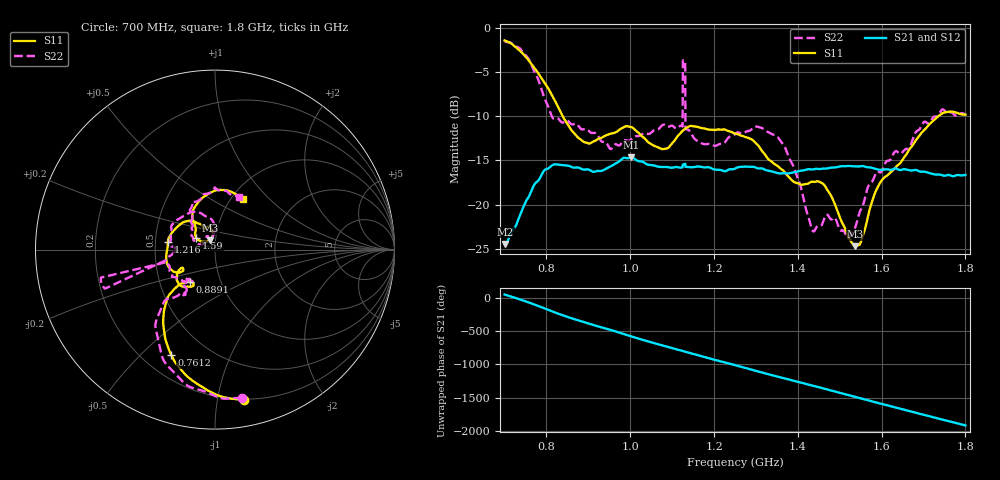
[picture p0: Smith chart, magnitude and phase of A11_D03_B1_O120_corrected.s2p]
! Created with skrf 1.9.0 (http://scikit-rf.org).
# Hz S RI R 50.0
!freq ReS11 ImS11 ReS21 ImS21 ReS12 ImS12 ReS22 ImS22
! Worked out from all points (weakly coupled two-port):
!   1601 points, 700 MHz to 1.8 GHz, reference 50 ohm
!   highest |S21| = -14.66 dB at 1.002 GHz (marker M1); lowest = -24.5 dB at 701.4 MHz (marker M2)
!   lowest |S11| = -24.7 dB at 1.537 GHz (marker M3), VSWR 1.12, Z = 47.3 + j4.96 ohm
!   |S11| at or under -10 dB: 838.8 MHz to 1.735 GHz (896.1 MHz wide, 69.6 % of centre)
!   |S22| runs from -23.8 to -1.5 dB; largest |S21 - S12| = 0.0035
!   S11 on the Smith chart (normalised r, x): 700 MHz: 0.20, -1.19; 761.2 MHz: 0.31, -0.62; 889.1 MHz: 0.71, -0.27; 1.216 GHz: 0.58, +0.06; 1.59 GHz: 0.80, +0.11; 1.8 GHz: 1.12, +0.71
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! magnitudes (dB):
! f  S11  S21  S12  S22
! 700 MHz  -1.4  -24.5  -24.3  -1.5
! 701.4 MHz  -1.4  -24.5  -24.1  -1.5
! 761.2 MHz  -3.9  -18.8  -18.7  -3.9
! 814.8 MHz  -7.8  -15.5  -15.6  -10.2
! 883.6 MHz  -12.7  -16.0  -15.9  -11.5
! 889.1 MHz  -12.9  -16.0  -16.0  -11.5
! 1.002 GHz  -11.2  -14.7  -14.8  -12.6
! 1.067 GHz  -13.5  -15.7  -15.6  -11.4
! 1.119 GHz  -11.9  -15.8  -15.7  -11.1
! 1.126 GHz  -11.6  -15.5  -15.5  -3.7
! 1.131 GHz  -11.4  -15.4  -15.5  -3.7
! 1.137 GHz  -11.2  -15.7  -15.7  -11.5
! 1.216 GHz  -11.5  -16.1  -16.1  -13.1
! 1.25 GHz  -12.0  -15.9  -15.9  -12.0
! 1.355 GHz  -15.7  -16.5  -16.4  -12.5
! 1.434 GHz  -17.4  -16.0  -16.0  -22.8
! 1.467 GHz  -18.0  -15.9  -15.9  -21.2
! 1.537 GHz  -24.7  -15.7  -15.7  -22.6
! 1.59 GHz  -18.1  -16.0  -16.0  -16.3
! 1.617 GHz  -16.6  -16.0  -16.0  -15.0
! 1.737 GHz  -9.9  -16.6  -16.7  -9.8
! 1.8 GHz  -9.8  -16.7  -16.6  -9.8
